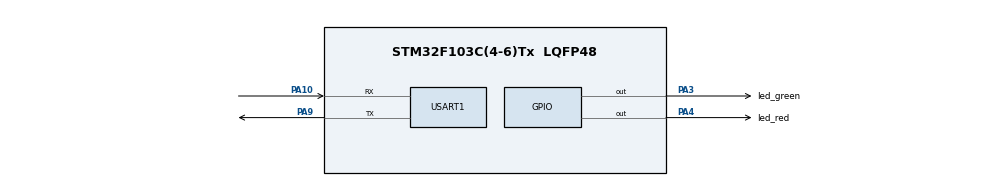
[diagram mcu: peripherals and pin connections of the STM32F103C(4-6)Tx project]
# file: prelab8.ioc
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Mcu.Family=STM32F1
Mcu.Name=STM32F103C(4-6)Tx
Mcu.Package=LQFP48
NVIC.PriorityGroup=NVIC_PRIORITYGROUP_4
PA10.Mode=Asynchronous
PA10.Signal=USART1_RX
PA3.GPIO_Label=led_green
PA3.Signal=GPIO_Output
PA4.GPIO_Label=led_red
PA4.Signal=GPIO_Output
PA9.Mode=Asynchronous
PA9.Signal=USART1_TX
ProjectManager.HeapSize=0x200
ProjectManager.StackSize=0x400
ProjectManager.TargetToolchain=MDK-ARM V5.32
RCC.APB1Freq_Value=8000000
RCC.APB2Freq_Value=8000000
USART1.VirtualMode=VM_ASYNC
VP_SYS_VS_ND.Mode=No_Debug
board=custom

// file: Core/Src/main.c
/* USER CODE BEGIN Header */
/**
  ******************************************************************************
  * @file           : main.c
  * @brief          : Main program body
  ******************************************************************************
  * @attention
  *
  * Copyright (c) 2025 STMicroelectronics.
  * All rights reserved.
  *
  * This software is licensed under terms that can be found in the LICENSE file
  * in the root directory of this software component.
  * If no LICENSE file comes with this software, it is provided AS-IS.
  *
  ******************************************************************************
  */
/* USER CODE END Header */
#include "main.h"

UART_HandleTypeDef huart1;

void SystemClock_Config(void);
static void MX_GPIO_Init(void);
static void MX_USART1_UART_Init(void);
/* USER CODE BEGIN PFP */

int is_red_on = 0;
int is_green_on = 0;

void toggle_led(uint8_t led) {
    if (led == 'g') {
        if (is_green_on) {
            HAL_GPIO_WritePin(led_green_GPIO_Port, led_green_Pin, GPIO_PIN_RESET);
            is_green_on = 0;
        } else {
            HAL_GPIO_WritePin(led_green_GPIO_Port, led_green_Pin, GPIO_PIN_SET);
            is_green_on = 1;
        }
    }

    if (led == 'r') {
        if (is_red_on) {
            HAL_GPIO_WritePin(led_red_GPIO_Port, led_red_Pin, GPIO_PIN_RESET);
            is_red_on = 0;
        } else {
            HAL_GPIO_WritePin(led_red_GPIO_Port, led_red_Pin, GPIO_PIN_SET);
            is_red_on = 1;
        }
    }
}

/* USER CODE END PFP */

int main(void)
{

  /* MCU Configuration--------------------------------------------------------*/

  /* Reset of all peripherals, Initializes the Flash interface and the Systick. */
  HAL_Init();

  /* Configure the system clock */
  SystemClock_Config();

  /* Initialize all configured peripherals */
  MX_GPIO_Init();
  MX_USART1_UART_Init();
  /* USER CODE BEGIN 2 */
	uint8_t data[1];

  /* USER CODE END 2 */

  /* Infinite loop */
  /* USER CODE BEGIN WHILE */
  while (1)
  {

		HAL_UART_Transmit(&huart1, data, sizeof(data), HAL_MAX_DELAY);
		HAL_Delay(500);
		HAL_UART_Receive(&huart1, data, sizeof(data), HAL_MAX_DELAY);
		data[0] += 1;

		//toggle_led(led_char[0]);

    /* USER CODE END WHILE */

  }
}

void SystemClock_Config(void)
{
  RCC_OscInitTypeDef RCC_OscInitStruct = {0};
  RCC_ClkInitTypeDef RCC_ClkInitStruct = {0};

  /** Initializes the RCC Oscillators according to the specified parameters
  * in the RCC_OscInitTypeDef structure.
  */
  RCC_OscInitStruct.OscillatorType = RCC_OSCILLATORTYPE_HSI;
  RCC_OscInitStruct.HSIState = RCC_HSI_ON;
  RCC_OscInitStruct.HSICalibrationValue = RCC_HSICALIBRATION_DEFAULT;
  RCC_OscInitStruct.PLL.PLLState = RCC_PLL_NONE;
  if (HAL_RCC_OscConfig(&RCC_OscInitStruct) != HAL_OK)
  {
    Error_Handler();
  }

  /** Initializes the CPU, AHB and APB buses clocks
  */
  RCC_ClkInitStruct.ClockType = RCC_CLOCKTYPE_HCLK|RCC_CLOCKTYPE_SYSCLK
                              |RCC_CLOCKTYPE_PCLK1|RCC_CLOCKTYPE_PCLK2;
  RCC_ClkInitStruct.SYSCLKSource = RCC_SYSCLKSOURCE_HSI;
  RCC_ClkInitStruct.AHBCLKDivider = RCC_SYSCLK_DIV1;
  RCC_ClkInitStruct.APB1CLKDivider = RCC_HCLK_DIV1;
  RCC_ClkInitStruct.APB2CLKDivider = RCC_HCLK_DIV1;

  if (HAL_RCC_ClockConfig(&RCC_ClkInitStruct, FLASH_LATENCY_0) != HAL_OK)
  {
    Error_Handler();
  }
}

static void MX_USART1_UART_Init(void)
{

  huart1.Instance = USART1;
  huart1.Init.BaudRate = 115200;
  huart1.Init.WordLength = UART_WORDLENGTH_8B;
  huart1.Init.StopBits = UART_STOPBITS_1;
  huart1.Init.Parity = UART_PARITY_NONE;
  huart1.Init.Mode = UART_MODE_TX_RX;
  huart1.Init.HwFlowCtl = UART_HWCONTROL_NONE;
  huart1.Init.OverSampling = UART_OVERSAMPLING_16;
  if (HAL_UART_Init(&huart1) != HAL_OK)
  {
    Error_Handler();
  }

}

static void MX_GPIO_Init(void)
{
  GPIO_InitTypeDef GPIO_InitStruct = {0};

  /* GPIO Ports Clock Enable */
  __HAL_RCC_GPIOA_CLK_ENABLE();

  /*Configure GPIO pin Output Level */
  HAL_GPIO_WritePin(GPIOA, led_green_Pin|led_red_Pin, GPIO_PIN_RESET);

  /*Configure GPIO pins : led_green_Pin led_red_Pin */
  GPIO_InitStruct.Pin = led_green_Pin|led_red_Pin;
  GPIO_InitStruct.Mode = GPIO_MODE_OUTPUT_PP;
  GPIO_InitStruct.Pull = GPIO_NOPULL;
  GPIO_InitStruct.Speed = GPIO_SPEED_FREQ_LOW;
  HAL_GPIO_Init(GPIOA, &GPIO_InitStruct);

}

void Error_Handler(void)
{
  __disable_irq();
  while (1)
  {
  }
}
